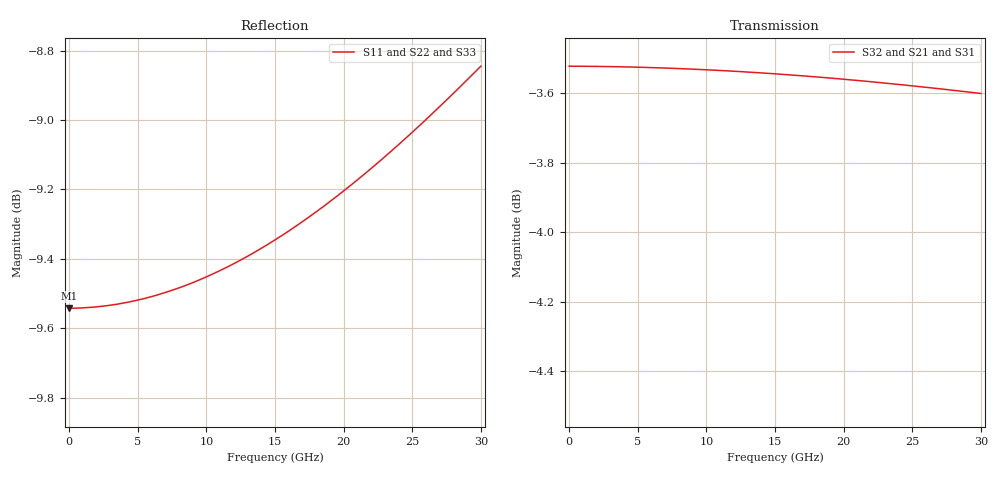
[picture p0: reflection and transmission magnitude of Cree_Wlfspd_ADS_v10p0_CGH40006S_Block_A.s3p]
!AWR Design Environment (4240) Wed Oct 14 10:04:41 2009
!freq-unit  param-type  data-format  keyword  impedance-ohms
# GHz  S  MA  R  50
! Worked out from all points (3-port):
!   77 points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, 1 MHz to 30 GHz, reference 50 ohm
!   strongest paths, dB at 1 MHz, 3.6 GHz, 11 GHz, 20.5 GHz, 30 GHz:
!     S32: -3.5, -3.5, -3.5, -3.6, -3.6
!     S21: -3.5, -3.5, -3.5, -3.6, -3.6
!     S31: -3.5, -3.5, -3.5, -3.6, -3.6
!   lowest |S11| = -9.5 dB at 1 MHz (marker M1), VSWR 2.00, Z = 25 - j2.3e-15 ohm
!   |S11| at or under -10 dB: nowhere
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0.001  0.3333 -180.0  0.6667 -0.0  0.6667 -0.0
       0.6667 -0.0  0.3333 -180.0  0.6667 -0.0
       0.6667 -0.0  0.6667 -0.0  0.3333 -180.0
1.8  0.3335 -179.3  0.6666 -0.8  0.6666 -0.8
     0.6666 -0.8  0.3335 -179.3  0.6666 -0.9
     0.6666 -0.8  0.6666 -0.9  0.3335 -179.3
4  0.3339 -178.5  0.6665 -1.9  0.6665 -1.9
   0.6665 -1.9  0.3339 -178.5  0.6665 -1.9
   0.6665 -1.9  0.6665 -1.9  0.3339 -178.5
8  0.3356 -176.9  0.666 -3.7  0.666 -3.7
   0.666 -3.7  0.3354 -177.1  0.6661 -3.8
   0.666 -3.7  0.6661 -3.8  0.3354 -177.1
12  0.3383 -175.5  0.6653 -5.6  0.6653 -5.6
    0.6653 -5.6  0.3378 -175.7  0.6655 -5.7
    0.6653 -5.6  0.6655 -5.7  0.3379 -175.7
15.5  0.3415 -174.3  0.6645 -7.2  0.6644 -7.2
      0.6645 -7.2  0.3406 -174.6  0.6649 -7.3
      0.6644 -7.2  0.6649 -7.3  0.3408 -174.6
18.5  0.3447 -173.3  0.6637 -8.6  0.6636 -8.5
      0.6637 -8.6  0.3436 -173.7  0.6642 -8.7
      0.6636 -8.5  0.6642 -8.7  0.3437 -173.6
22.5  0.3498 -172.2  0.6623 -10.4  0.6622 -10.4
      0.6623 -10.4  0.3481 -172.6  0.6631 -10.6
      0.6622 -10.4  0.6631 -10.6  0.3483 -172.5
26.5  0.3556 -171.1  0.6608 -12.2  0.6606 -12.2
      0.6608 -12.2  0.3532 -171.6  0.6619 -12.5
      0.6606 -12.2  0.6619 -12.5  0.3536 -171.6
30  0.3612 -170.3  0.6593 -13.8  0.659 -13.8
    0.6593 -13.8  0.3582 -170.9  0.6607 -14.2
    0.659 -13.8  0.6607 -14.2  0.3586 -170.9
